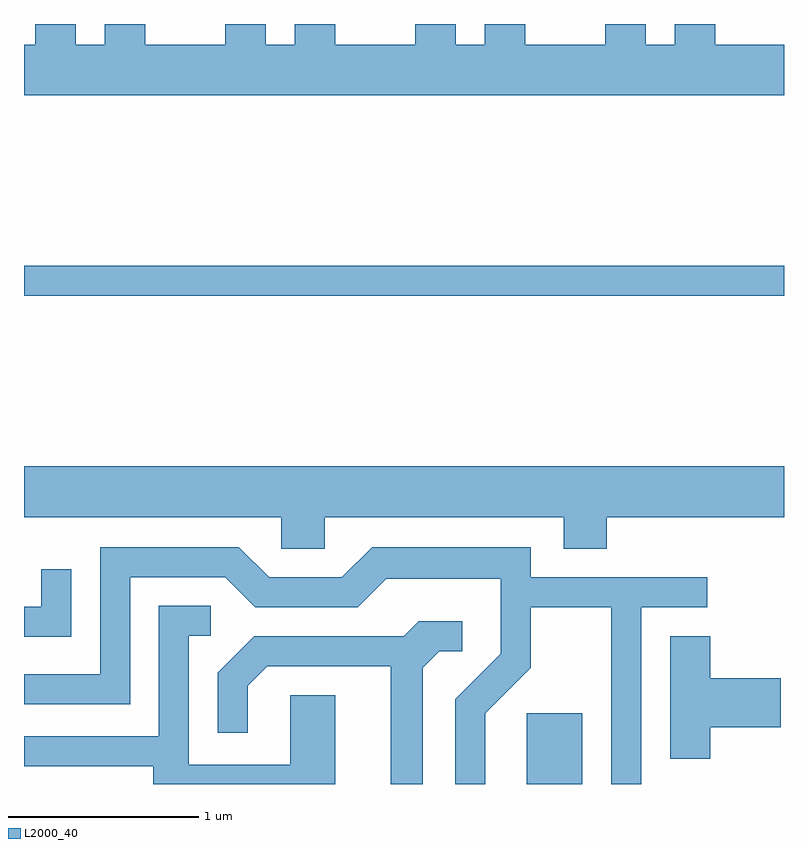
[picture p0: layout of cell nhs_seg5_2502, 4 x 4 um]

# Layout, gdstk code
import gdstk
lib = gdstk.Library(unit=1e-6, precision=1e-09)
def R(c, l, rs):  # rectangles x0, y0, x1, y1
    for r in rs: c.add(gdstk.rectangle(r[:2], r[2:], *l))
def P(c, l, *ps):  # polygons
    for p in ps: c.add(gdstk.Polygon(p, *l))
L2000_40 = (2000, 40)

nhs_seg5_2502 = lib.new_cell('nhs_seg5_2502')
R(nhs_seg5_2502, L2000_40, [(262.256,1442.072,262.549,1442.444), (259.611,1444.641,263.611,1444.799)])
P(nhs_seg5_2502, L2000_40, [(263.611,1445.964),(263.249,1445.964),(263.249,1446.072),(263.036,1446.072),(263.036,1445.964),(262.884,1445.964),(262.884,1446.072),(262.671,1446.072),(262.671,1445.964),(262.249,1445.964),(262.249,1446.072),(262.036,1446.072),(262.036,1445.964),(261.884,1445.964),(261.884,1446.072),(261.671,1446.072),(261.671,1445.964),(261.249,1445.964),(261.249,1446.072),(261.036,1446.072),(261.036,1445.964),(260.884,1445.964),(260.884,1446.072),(260.671,1446.072),(260.671,1445.964),(260.249,1445.964),(260.249,1446.072),(260.036,1446.072),(260.036,1445.964),(259.884,1445.964),(259.884,1446.072),(259.671,1446.072),(259.671,1445.964),(259.611,1445.964),(259.611,1445.696),(263.611,1445.696)],
  [(261.194,1443.476),(262.451,1443.476),(262.451,1443.311),(262.679,1443.311),(262.679,1443.476),(263.611,1443.476),(263.611,1443.744),(259.611,1443.744),(259.611,1443.476),(260.966,1443.476),(260.966,1443.311),(261.194,1443.311)],
  [(262.039,1442.444),(262.279,1442.684),(262.279,1443.001),(262.701,1443.001),(262.701,1442.072),(262.859,1442.072),(262.859,1443.001),(263.208,1443.001),(263.208,1443.159),(262.279,1443.159),(262.279,1443.319),(261.444,1443.319),(261.284,1443.159),(260.902,1443.159),(260.742,1443.319),(260.011,1443.319),(260.011,1442.649),(259.611,1442.649),(259.611,1442.491),(260.169,1442.491),(260.169,1443.161),(260.669,1443.161),(260.829,1443.001),(261.367,1443.001),(261.517,1443.151),(262.121,1443.151),(262.121,1442.757),(261.881,1442.517),(261.881,1442.072),(262.039,1442.072)],
  [(259.859,1443.203),(259.701,1443.203),(259.701,1443.004),(259.611,1443.004),(259.611,1442.846),(259.859,1442.846)],
  [(261.249,1442.539),(261.011,1442.539),(261.011,1442.174),(260.479,1442.174),(260.479,1442.851),(260.593,1442.851),(260.593,1443.009),(260.321,1443.009),(260.321,1442.324),(259.611,1442.324),(259.611,1442.166),(260.291,1442.166),(260.291,1442.072),(261.249,1442.072)],
  [(261.709,1442.684),(261.796,1442.771),(261.918,1442.771),(261.918,1442.929),(261.689,1442.929),(261.609,1442.849),(260.824,1442.849),(260.631,1442.657),(260.631,1442.343),(260.789,1442.343),(260.789,1442.589),(260.892,1442.691),(261.541,1442.691),(261.541,1442.072),(261.709,1442.072)],
  [(263.224,1442.371),(263.594,1442.371),(263.594,1442.629),(263.224,1442.629),(263.224,1442.849),(263.011,1442.849),(263.011,1442.206),(263.224,1442.206)])

lib.write_gds('nhs_seg5_2502.gds')
